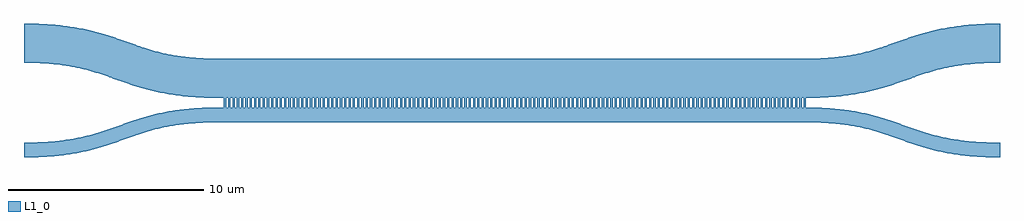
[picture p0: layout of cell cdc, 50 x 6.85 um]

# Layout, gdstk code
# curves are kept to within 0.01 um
import gdstk
lib = gdstk.Library(unit=1e-6, precision=1e-09)
def R(c, l, rs):  # rectangles x0, y0, x1, y1
    for r in rs: c.add(gdstk.rectangle(r[:2], r[2:], *l))
def P(c, l, *ps):  # polygons
    for p in ps: c.add(gdstk.Polygon(p, *l))
L1_0 = (1, 0)

compass_530917d7 = lib.new_cell('compass_530917d7')
R(compass_530917d7, L1_0, [(-0.055,-0.25,0.055,0.25)])

rectangle_997e36b3 = lib.new_cell('rectangle_997e36b3')
rectangle_997e36b3.add(gdstk.Reference(compass_530917d7, (0,0)))

cdc = lib.new_cell('cdc')
R(cdc, L1_0, [(0,-2,30,-1.25), (0,-0.75,30,1.25)])
P(cdc, L1_0, [(-10,3.05),(-9.38,3.041),(-8.535,2.995),(-7.774,2.913),(-7.308,2.841),(-6.665,2.712),(-6.079,2.562),(-5.46,2.371),(-3.685,1.755),(-3.22,1.62),(-2.713,1.499),(-2.159,1.398),(-1.53,1.319),(-0.82,1.268),(0,1.25),(0,-0.75),(-0.62,-0.741),(-1.465,-0.695),(-2.226,-0.613),(-2.692,-0.541),(-3.335,-0.412),(-3.921,-0.262),(-4.54,-0.071),(-6.315,0.545),(-6.78,0.68),(-7.287,0.801),(-7.841,0.902),(-8.47,0.981),(-9.18,1.032),(-10,1.05)],
  [(-10,-3.8),(-9.119,-3.781),(-8.585,-3.747),(-7.857,-3.669),(-7.309,-3.581),(-6.709,-3.455),(-6.25,-3.336),(-5.417,-3.072),(-3.871,-2.533),(-3.291,-2.368),(-2.843,-2.263),(-2.149,-2.14),(-1.475,-2.061),(-0.847,-2.019),(0,-2),(0,-1.25),(-0.881,-1.269),(-1.415,-1.303),(-2.143,-1.381),(-2.691,-1.469),(-3.291,-1.595),(-3.75,-1.714),(-4.583,-1.978),(-6.129,-2.517),(-6.709,-2.682),(-7.157,-2.787),(-7.851,-2.91),(-8.525,-2.989),(-9.153,-3.031),(-10,-3.05)],
  [(40,3.05),(39.38,3.041),(38.535,2.995),(37.774,2.913),(37.308,2.841),(36.665,2.712),(36.079,2.562),(35.46,2.371),(33.685,1.755),(33.22,1.62),(32.713,1.499),(32.159,1.398),(31.53,1.319),(30.82,1.268),(30,1.25),(30,-0.75),(30.62,-0.741),(31.465,-0.695),(32.226,-0.613),(32.692,-0.541),(33.335,-0.412),(33.921,-0.262),(34.54,-0.071),(36.315,0.545),(36.78,0.68),(37.287,0.801),(37.841,0.902),(38.47,0.981),(39.18,1.032),(40,1.05)],
  [(40,-3.8),(39.119,-3.781),(38.585,-3.747),(37.857,-3.669),(37.309,-3.581),(36.709,-3.455),(36.25,-3.336),(35.417,-3.072),(33.871,-2.533),(33.291,-2.368),(32.843,-2.263),(32.149,-2.14),(31.475,-2.061),(30.847,-2.019),(30,-2),(30,-1.25),(30.881,-1.269),(31.415,-1.303),(32.143,-1.381),(32.691,-1.469),(33.291,-1.595),(33.75,-1.714),(34.583,-1.978),(36.129,-2.517),(36.709,-2.682),(37.157,-2.787),(37.851,-2.91),(38.525,-2.989),(39.153,-3.031),(40,-3.05)])
cdc.add(gdstk.Reference(rectangle_997e36b3, (0.3,-1)))
cdc.add(gdstk.Reference(rectangle_997e36b3, (0.52,-1)))
cdc.add(gdstk.Reference(rectangle_997e36b3, (0.74,-1)))
cdc.add(gdstk.Reference(rectangle_997e36b3, (0.96,-1)))
cdc.add(gdstk.Reference(rectangle_997e36b3, (1.18,-1)))
cdc.add(gdstk.Reference(rectangle_997e36b3, (1.4,-1)))
cdc.add(gdstk.Reference(rectangle_997e36b3, (1.62,-1)))
cdc.add(gdstk.Reference(rectangle_997e36b3, (1.84,-1)))
cdc.add(gdstk.Reference(rectangle_997e36b3, (2.06,-1)))
cdc.add(gdstk.Reference(rectangle_997e36b3, (2.28,-1)))
cdc.add(gdstk.Reference(rectangle_997e36b3, (2.5,-1)))
cdc.add(gdstk.Reference(rectangle_997e36b3, (2.72,-1)))
cdc.add(gdstk.Reference(rectangle_997e36b3, (2.94,-1)))
cdc.add(gdstk.Reference(rectangle_997e36b3, (3.16,-1)))
cdc.add(gdstk.Reference(rectangle_997e36b3, (3.38,-1)))
cdc.add(gdstk.Reference(rectangle_997e36b3, (3.6,-1)))
cdc.add(gdstk.Reference(rectangle_997e36b3, (3.82,-1)))
cdc.add(gdstk.Reference(rectangle_997e36b3, (4.04,-1)))
cdc.add(gdstk.Reference(rectangle_997e36b3, (4.26,-1)))
cdc.add(gdstk.Reference(rectangle_997e36b3, (4.48,-1)))
cdc.add(gdstk.Reference(rectangle_997e36b3, (4.7,-1)))
cdc.add(gdstk.Reference(rectangle_997e36b3, (4.92,-1)))
cdc.add(gdstk.Reference(rectangle_997e36b3, (5.14,-1)))
cdc.add(gdstk.Reference(rectangle_997e36b3, (5.36,-1)))
cdc.add(gdstk.Reference(rectangle_997e36b3, (5.58,-1)))
cdc.add(gdstk.Reference(rectangle_997e36b3, (5.8,-1)))
cdc.add(gdstk.Reference(rectangle_997e36b3, (6.02,-1)))
cdc.add(gdstk.Reference(rectangle_997e36b3, (6.24,-1)))
cdc.add(gdstk.Reference(rectangle_997e36b3, (6.46,-1)))
cdc.add(gdstk.Reference(rectangle_997e36b3, (6.68,-1)))
cdc.add(gdstk.Reference(rectangle_997e36b3, (6.9,-1)))
cdc.add(gdstk.Reference(rectangle_997e36b3, (7.12,-1)))
cdc.add(gdstk.Reference(rectangle_997e36b3, (7.34,-1)))
cdc.add(gdstk.Reference(rectangle_997e36b3, (7.56,-1)))
cdc.add(gdstk.Reference(rectangle_997e36b3, (7.78,-1)))
cdc.add(gdstk.Reference(rectangle_997e36b3, (8,-1)))
cdc.add(gdstk.Reference(rectangle_997e36b3, (8.22,-1)))
cdc.add(gdstk.Reference(rectangle_997e36b3, (8.44,-1)))
cdc.add(gdstk.Reference(rectangle_997e36b3, (8.66,-1)))
cdc.add(gdstk.Reference(rectangle_997e36b3, (8.88,-1)))
cdc.add(gdstk.Reference(rectangle_997e36b3, (9.1,-1)))
cdc.add(gdstk.Reference(rectangle_997e36b3, (9.32,-1)))
cdc.add(gdstk.Reference(rectangle_997e36b3, (9.54,-1)))
cdc.add(gdstk.Reference(rectangle_997e36b3, (9.76,-1)))
cdc.add(gdstk.Reference(rectangle_997e36b3, (9.98,-1)))
cdc.add(gdstk.Reference(rectangle_997e36b3, (10.2,-1)))
cdc.add(gdstk.Reference(rectangle_997e36b3, (10.42,-1)))
cdc.add(gdstk.Reference(rectangle_997e36b3, (10.64,-1)))
cdc.add(gdstk.Reference(rectangle_997e36b3, (10.86,-1)))
cdc.add(gdstk.Reference(rectangle_997e36b3, (11.08,-1)))
cdc.add(gdstk.Reference(rectangle_997e36b3, (11.3,-1)))
cdc.add(gdstk.Reference(rectangle_997e36b3, (11.52,-1)))
cdc.add(gdstk.Reference(rectangle_997e36b3, (11.74,-1)))
cdc.add(gdstk.Reference(rectangle_997e36b3, (11.96,-1)))
cdc.add(gdstk.Reference(rectangle_997e36b3, (12.18,-1)))
cdc.add(gdstk.Reference(rectangle_997e36b3, (12.4,-1)))
cdc.add(gdstk.Reference(rectangle_997e36b3, (12.62,-1)))
cdc.add(gdstk.Reference(rectangle_997e36b3, (12.84,-1)))
cdc.add(gdstk.Reference(rectangle_997e36b3, (13.06,-1)))
cdc.add(gdstk.Reference(rectangle_997e36b3, (13.28,-1)))
cdc.add(gdstk.Reference(rectangle_997e36b3, (13.5,-1)))
cdc.add(gdstk.Reference(rectangle_997e36b3, (13.72,-1)))
cdc.add(gdstk.Reference(rectangle_997e36b3, (13.94,-1)))
cdc.add(gdstk.Reference(rectangle_997e36b3, (14.16,-1)))
cdc.add(gdstk.Reference(rectangle_997e36b3, (14.38,-1)))
cdc.add(gdstk.Reference(rectangle_997e36b3, (14.6,-1)))
cdc.add(gdstk.Reference(rectangle_997e36b3, (14.82,-1)))
cdc.add(gdstk.Reference(rectangle_997e36b3, (15.04,-1)))
cdc.add(gdstk.Reference(rectangle_997e36b3, (15.26,-1)))
cdc.add(gdstk.Reference(rectangle_997e36b3, (15.48,-1)))
cdc.add(gdstk.Reference(rectangle_997e36b3, (15.7,-1)))
cdc.add(gdstk.Reference(rectangle_997e36b3, (15.92,-1)))
cdc.add(gdstk.Reference(rectangle_997e36b3, (16.14,-1)))
cdc.add(gdstk.Reference(rectangle_997e36b3, (16.36,-1)))
cdc.add(gdstk.Reference(rectangle_997e36b3, (16.58,-1)))
cdc.add(gdstk.Reference(rectangle_997e36b3, (16.8,-1)))
cdc.add(gdstk.Reference(rectangle_997e36b3, (17.02,-1)))
cdc.add(gdstk.Reference(rectangle_997e36b3, (17.24,-1)))
cdc.add(gdstk.Reference(rectangle_997e36b3, (17.46,-1)))
cdc.add(gdstk.Reference(rectangle_997e36b3, (17.68,-1)))
cdc.add(gdstk.Reference(rectangle_997e36b3, (17.9,-1)))
cdc.add(gdstk.Reference(rectangle_997e36b3, (18.12,-1)))
cdc.add(gdstk.Reference(rectangle_997e36b3, (18.34,-1)))
cdc.add(gdstk.Reference(rectangle_997e36b3, (18.56,-1)))
cdc.add(gdstk.Reference(rectangle_997e36b3, (18.78,-1)))
cdc.add(gdstk.Reference(rectangle_997e36b3, (19,-1)))
cdc.add(gdstk.Reference(rectangle_997e36b3, (19.22,-1)))
cdc.add(gdstk.Reference(rectangle_997e36b3, (19.44,-1)))
cdc.add(gdstk.Reference(rectangle_997e36b3, (19.66,-1)))
cdc.add(gdstk.Reference(rectangle_997e36b3, (19.88,-1)))
cdc.add(gdstk.Reference(rectangle_997e36b3, (20.1,-1)))
cdc.add(gdstk.Reference(rectangle_997e36b3, (20.32,-1)))
cdc.add(gdstk.Reference(rectangle_997e36b3, (20.54,-1)))
cdc.add(gdstk.Reference(rectangle_997e36b3, (20.76,-1)))
cdc.add(gdstk.Reference(rectangle_997e36b3, (20.98,-1)))
cdc.add(gdstk.Reference(rectangle_997e36b3, (21.2,-1)))
cdc.add(gdstk.Reference(rectangle_997e36b3, (21.42,-1)))
cdc.add(gdstk.Reference(rectangle_997e36b3, (21.64,-1)))
cdc.add(gdstk.Reference(rectangle_997e36b3, (21.86,-1)))
cdc.add(gdstk.Reference(rectangle_997e36b3, (22.08,-1)))
cdc.add(gdstk.Reference(rectangle_997e36b3, (22.3,-1)))
cdc.add(gdstk.Reference(rectangle_997e36b3, (22.52,-1)))
cdc.add(gdstk.Reference(rectangle_997e36b3, (22.74,-1)))
cdc.add(gdstk.Reference(rectangle_997e36b3, (22.96,-1)))
cdc.add(gdstk.Reference(rectangle_997e36b3, (23.18,-1)))
cdc.add(gdstk.Reference(rectangle_997e36b3, (23.4,-1)))
cdc.add(gdstk.Reference(rectangle_997e36b3, (23.62,-1)))
cdc.add(gdstk.Reference(rectangle_997e36b3, (23.84,-1)))
cdc.add(gdstk.Reference(rectangle_997e36b3, (24.06,-1)))
cdc.add(gdstk.Reference(rectangle_997e36b3, (24.28,-1)))
cdc.add(gdstk.Reference(rectangle_997e36b3, (24.5,-1)))
cdc.add(gdstk.Reference(rectangle_997e36b3, (24.72,-1)))
cdc.add(gdstk.Reference(rectangle_997e36b3, (24.94,-1)))
cdc.add(gdstk.Reference(rectangle_997e36b3, (25.16,-1)))
cdc.add(gdstk.Reference(rectangle_997e36b3, (25.38,-1)))
cdc.add(gdstk.Reference(rectangle_997e36b3, (25.6,-1)))
cdc.add(gdstk.Reference(rectangle_997e36b3, (25.82,-1)))
cdc.add(gdstk.Reference(rectangle_997e36b3, (26.04,-1)))
cdc.add(gdstk.Reference(rectangle_997e36b3, (26.26,-1)))
cdc.add(gdstk.Reference(rectangle_997e36b3, (26.48,-1)))
cdc.add(gdstk.Reference(rectangle_997e36b3, (26.7,-1)))
cdc.add(gdstk.Reference(rectangle_997e36b3, (26.92,-1)))
cdc.add(gdstk.Reference(rectangle_997e36b3, (27.14,-1)))
cdc.add(gdstk.Reference(rectangle_997e36b3, (27.36,-1)))
cdc.add(gdstk.Reference(rectangle_997e36b3, (27.58,-1)))
cdc.add(gdstk.Reference(rectangle_997e36b3, (27.8,-1)))
cdc.add(gdstk.Reference(rectangle_997e36b3, (28.02,-1)))
cdc.add(gdstk.Reference(rectangle_997e36b3, (28.24,-1)))
cdc.add(gdstk.Reference(rectangle_997e36b3, (28.46,-1)))
cdc.add(gdstk.Reference(rectangle_997e36b3, (28.68,-1)))
cdc.add(gdstk.Reference(rectangle_997e36b3, (28.9,-1)))
cdc.add(gdstk.Reference(rectangle_997e36b3, (29.12,-1)))
cdc.add(gdstk.Reference(rectangle_997e36b3, (29.34,-1)))
cdc.add(gdstk.Reference(rectangle_997e36b3, (29.56,-1)))
cdc.add(gdstk.Reference(rectangle_997e36b3, (29.78,-1)))
cdc.add(gdstk.Reference(rectangle_997e36b3, (30,-1)))

lib.write_gds('cdc.gds')
